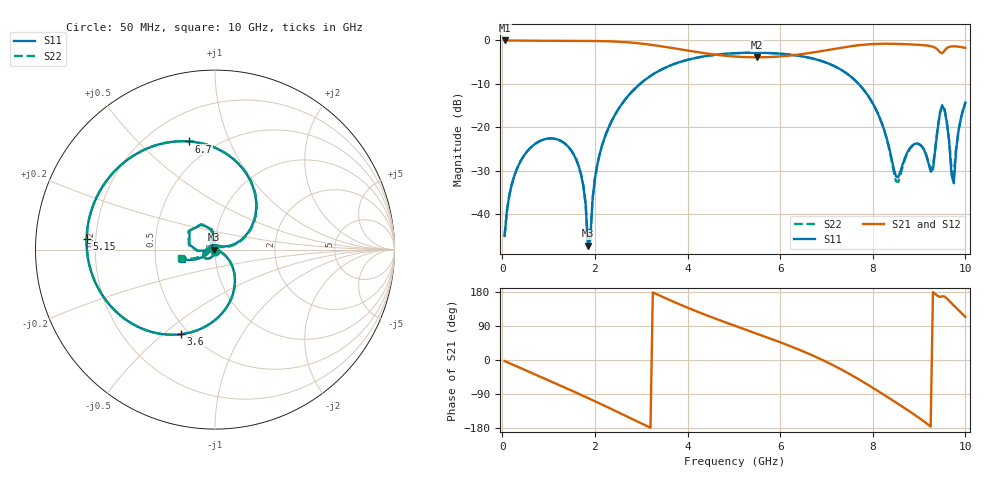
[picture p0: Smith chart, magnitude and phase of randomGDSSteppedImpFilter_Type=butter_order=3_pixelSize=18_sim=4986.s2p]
! freq	dB(S11)	phase(S11)	dB(S12)	phase(S12)
!  dB(S21)	phase(S21)	dB(S22)	phase(S22)
!S-par simulation data
#  GHz  S  DB  R 50
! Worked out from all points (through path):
!   200 points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, 50 MHz to 10 GHz, reference 50 ohm
!   highest |S21| = 0.00 dB at 50 MHz (marker M1); lowest = -3.9 dB at 5.5 GHz (marker M2)
!   group delay of S21, straight-line fit = 156 ps
!   lowest |S11| = -47.2 dB at 1.85 GHz (marker M3), VSWR 1.01, Z = 49.6 - j0.00741 ohm
!   |S11| at or under -10 dB: start of sweep to 2.975 GHz; 7.694 GHz to end of sweep
!   |S22| runs from -47.4 to -2.8 dB; largest |S21 - S12| = 0
!   S11 on the Smith chart (normalised r, x): 50 MHz: 1.00, -0.01; 3.6 GHz: 0.45, -0.58; 5.15 GHz: 0.16, +0.04; 6.7 GHz: 0.37, +0.72; 10 GHz: 0.68, -0.08
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0.05  -45.03 -89.7  -0.00 -2.7  -0.00 -2.7  -45.03 -89.7
0.25  -31.48 -103.1  -0.02 -13.6  -0.02 -13.6  -31.48 -103.1
0.75  -23.52 -130.9  -0.07 -40.4  -0.07 -40.4  -23.52 -131.0
1.4  -24.20 -166.0  -0.11 -75.5  -0.11 -75.5  -24.20 -166.4
1.75  -33.47 175.9  -0.11 -94.8  -0.11 -94.8  -33.47 174.3
1.85  -47.25 -179.0  -0.12 -100.4  -0.12 -100.4  -47.36 161.3
2  -31.82 -21.3  -0.13 -108.8  -0.13 -108.8  -31.82 -19.7
2.25  -21.24 -34.6  -0.18 -123.2  -0.18 -123.2  -21.24 -34.1
3.4  -6.90 -100.8  -1.29 169.9  -1.29 169.9  -6.90 -100.8
3.6  -5.89 -111.7  -1.63 158.9  -1.63 158.9  -5.89 -111.7
5.05  -2.92 179.4  -3.73 89.1  -3.73 89.1  -2.92 179.3
5.15  -2.88 175.1  -3.79 84.7  -3.79 84.7  -2.88 175.0
5.5  -2.83 160.0  -3.89 69.4  -3.89 69.4  -2.83 159.9
6.7  -4.16 103.5  -2.78 12.0  -2.78 12.0  -4.16 103.3
7.5  -8.10 56.3  -1.37 -37.0  -1.37 -37.0  -8.11 55.7
8.35  -24.54 17.3  -0.76 -100.2  -0.76 -100.2  -24.77 14.2
8.5  -31.29 54.5  -0.79 -112.0  -0.79 -112.0  -32.41 52.6
8.9  -23.83 110.4  -0.96 -144.3  -0.96 -144.3  -23.94 113.4
9.25  -30.22 129.5  -1.31 -175.8  -1.31 -175.8  -29.72 134.3
9.5  -15.06 143.7  -2.96 167.9  -2.96 167.9  -14.91 145.1
9.75  -32.89 -171.3  -1.35 143.7  -1.35 143.7  -30.99 178.0
10  -14.31 -163.6  -1.71 113.7  -1.71 113.7  -14.27 -166.0
